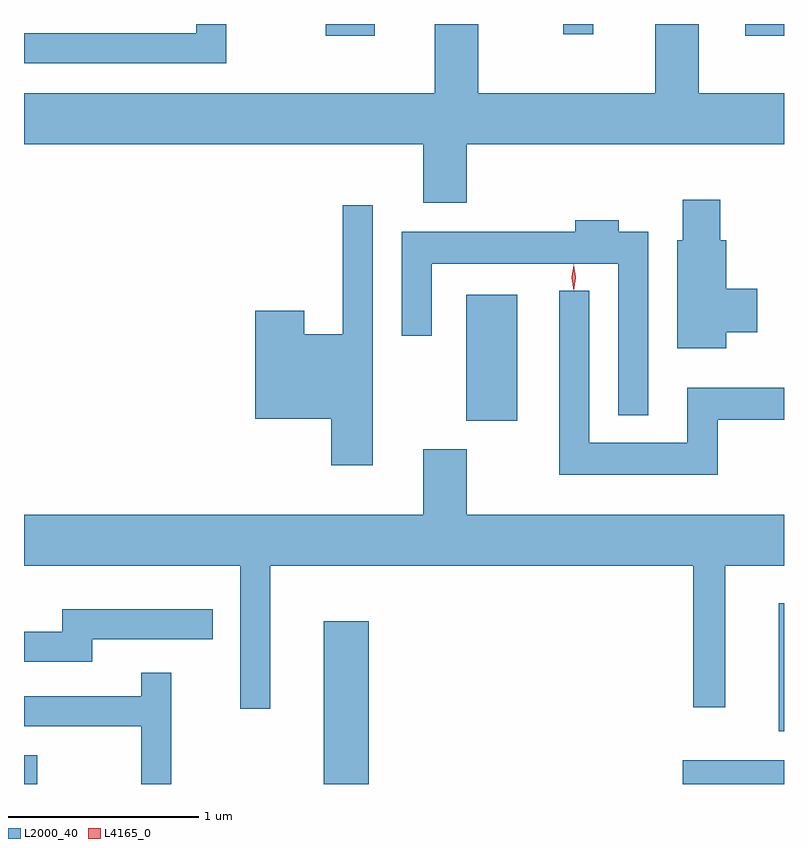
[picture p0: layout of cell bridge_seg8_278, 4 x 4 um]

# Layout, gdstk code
import gdstk
lib = gdstk.Library(unit=1e-6, precision=1e-09)
def R(c, l, rs):  # rectangles x0, y0, x1, y1
    for r in rs: c.add(gdstk.rectangle(r[:2], r[2:], *l))
def P(c, l, *ps):  # polygons
    for p in ps: c.add(gdstk.Polygon(p, *l))
L2000_40 = (2000, 40)
L4165_0 = (4165, 0)

bridge_seg8_278 = lib.new_cell('bridge_seg8_278')
R(bridge_seg8_278, L2000_40, [(1274.469,1810.848,1274.538,1810.999), (1276.046,1810.848,1276.284,1811.704), (1277.936,1810.848,1278.469,1810.974), (1278.441,1811.126,1278.469,1811.799), (1276.796,1812.761,1277.064,1813.424), (1276.056,1814.786,1276.314,1814.848), (1278.266,1814.786,1278.469,1814.848), (1277.306,1814.793,1277.464,1814.848)])
P(bridge_seg8_278, L2000_40, [(1276.799,1814.216),(1278.469,1814.216),(1278.469,1814.484),(1278.019,1814.484),(1278.019,1814.848),(1277.791,1814.848),(1277.791,1814.484),(1276.859,1814.484),(1276.859,1814.848),(1276.631,1814.848),(1276.631,1814.484),(1274.469,1814.484),(1274.469,1814.216),(1276.571,1814.216),(1276.571,1813.906),(1276.799,1813.906)],
  [(1275.534,1814.848),(1275.376,1814.848),(1275.376,1814.799),(1274.469,1814.799),(1274.469,1814.641),(1275.534,1814.641)],
  [(1278.164,1813.226),(1278.329,1813.226),(1278.329,1813.454),(1278.164,1813.454),(1278.164,1813.709),(1278.134,1813.709),(1278.134,1813.924),(1277.936,1813.924),(1277.936,1813.709),(1277.906,1813.709),(1277.906,1813.141),(1278.164,1813.141)],
  [(1276.304,1813.893),(1276.146,1813.893),(1276.146,1813.214),(1275.944,1813.214),(1275.944,1813.339),(1275.686,1813.339),(1275.686,1812.771),(1276.086,1812.771),(1276.086,1812.526),(1276.304,1812.526)],
  [(1277.754,1813.754),(1277.599,1813.754),(1277.599,1813.814),(1277.371,1813.814),(1277.371,1813.754),(1276.456,1813.754),(1276.456,1813.208),(1276.614,1813.208),(1276.614,1813.586),(1277.596,1813.586),(1277.596,1812.788),(1277.754,1812.788)],
  [(1278.119,1812.766),(1278.469,1812.766),(1278.469,1812.934),(1277.961,1812.934),(1277.961,1812.644),(1277.444,1812.644),(1277.444,1813.443),(1277.286,1813.443),(1277.286,1812.476),(1278.119,1812.476)],
  [(1275.764,1811.996),(1277.991,1811.996),(1277.991,1811.253),(1278.159,1811.253),(1278.159,1811.996),(1278.469,1811.996),(1278.469,1812.264),(1276.799,1812.264),(1276.799,1812.609),(1276.571,1812.609),(1276.571,1812.264),(1274.469,1812.264),(1274.469,1811.996),(1275.606,1811.996),(1275.606,1811.243),(1275.764,1811.243)],
  [(1274.829,1811.611),(1275.463,1811.611),(1275.463,1811.769),(1274.671,1811.769),(1274.671,1811.649),(1274.469,1811.649),(1274.469,1811.491),(1274.829,1811.491)],
  [(1275.244,1811.433),(1275.086,1811.433),(1275.086,1811.309),(1274.469,1811.309),(1274.469,1811.151),(1275.086,1811.151),(1275.086,1810.848),(1275.244,1810.848)])
P(bridge_seg8_278, L4165_0, [(1277.362,1813.447),(1277.353,1813.514),(1277.362,1813.58),(1277.363,1813.58),(1277.363,1813.58),(1277.373,1813.514),(1277.363,1813.447),(1277.363,1813.447)],
  [(1277.363,1813.443),(1277.362,1813.444),(1277.353,1813.513),(1277.362,1813.582),(1277.363,1813.583),(1277.363,1813.582),(1277.373,1813.513),(1277.363,1813.444)])

lib.write_gds('bridge_seg8_278.gds')
